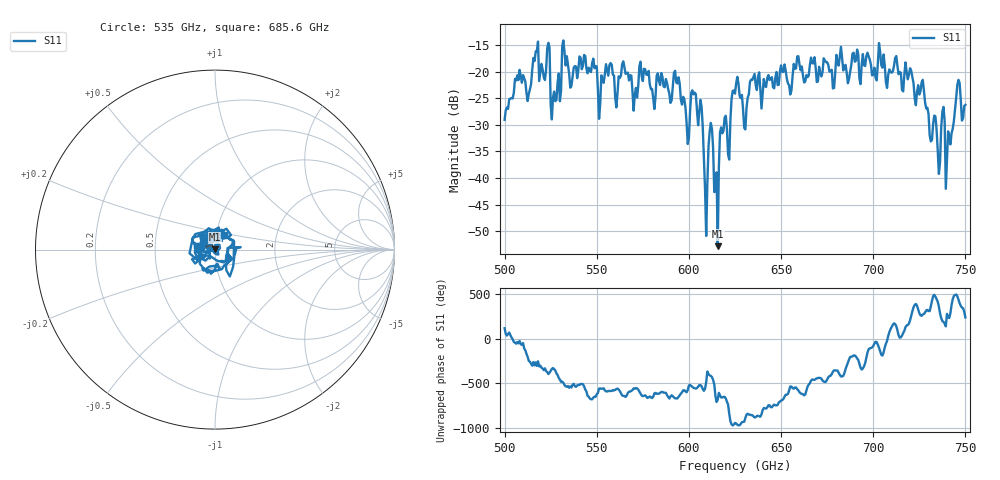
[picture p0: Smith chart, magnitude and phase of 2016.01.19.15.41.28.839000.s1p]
!Created with skrf (http://scikit-rf.org).
# GHz S RI R 50.0
!freq ReS11 ImS11
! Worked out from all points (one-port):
!   401 points, 500 GHz to 750 GHz, reference 50 ohm
!   lowest |S11| = -52.8 dB at 615.6 GHz (marker M1), VSWR 1.00, Z = 50.2 + j0.14 ohm
!   |S11| at or under -10 dB: start of sweep to end of sweep
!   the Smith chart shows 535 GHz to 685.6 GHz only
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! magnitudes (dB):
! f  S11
! 500 GHz  -29.1
! 506.9 GHz  -20.7
! 513.1 GHz  -24.2
! 516.9 GHz  -16.2
! 523.1 GHz  -15.6
! 526.2 GHz  -24.9
! 531.2 GHz  -15.2
! 562.5 GHz  -21.2
! 593.8 GHz  -22.2
! 599.4 GHz  -33.6
! 602.5 GHz  -24.3
! 606.2 GHz  -25.3
! 609.4 GHz  -50.9
! 611.9 GHz  -29.6
! 615.6 GHz  -52.8
! 618.1 GHz  -31.6
! 621.9 GHz  -36.5
! 625 GHz  -24.1
! 630.6 GHz  -30.9
! 634.4 GHz  -21.6
! 656.2 GHz  -20.8
! 687.5 GHz  -20.1
! 718.8 GHz  -21.4
! 735.6 GHz  -39.2
! 737.5 GHz  -27.6
! 740.6 GHz  -31.2
! 746.2 GHz  -21.5
! 750 GHz  -26.3
